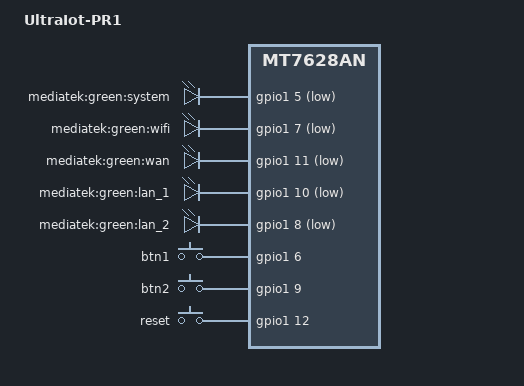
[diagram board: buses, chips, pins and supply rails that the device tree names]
/dts-v1/;

#include "UltraIot-PR1.dtsi"

/ {
	compatible = "mediatek,UltraIot-PR1", "mediatek,mt7628an-soc";
	model = "UltraIot-PR1";

	gpio-leds {
		compatible = "gpio-leds";

		system {
			label = "mediatek:green:system";
			gpios = <&gpio1 5 1>;
			default-state = "off";
		};

		wifi {
			label = "mediatek:green:wifi";
			gpios = <&gpio1 7 1>;
			default-state = "off";
		};

		wan {
			label = "mediatek:green:wan";
			gpios = <&gpio1 11 1>;
			default-state = "off";
		};

		lan1 {
			label = "mediatek:green:lan_1";
			gpios = <&gpio1 10 1>;
			default-state = "off";
		};

		lan2 {
			label = "mediatek:green:lan_2";
			gpios = <&gpio1 8 1>;
			default-state = "off";
		};
	}; 
	
	gpio-keys-polled {
		compatible = "gpio-keys-polled";
		#address-cells = <1>;
		#size-cells = <0>;
		poll-interval = <20>;

		btn1 {
				label = "btn1";
				gpios = <&gpio1 6 0>;
				linux,code = <0x101>;
		};

		btn2 {
				label = "btn2";
				gpios = <&gpio1 9 0>;
				linux,code = <0x102>;
		};

		reset {
				label = "reset";
				gpios = <&gpio1 12 0>;
				linux,code = <0x198>;
		};
};	
};

&pinctrl {
	state_default: pinctrl0 {
		gpio {
			ralink,group = "i2c", "gpio", "wled_an" , "perst","refclk","i2s","spis", "wdt","wled_kn";
			ralink,function = "gpio";
		};
	};
};
